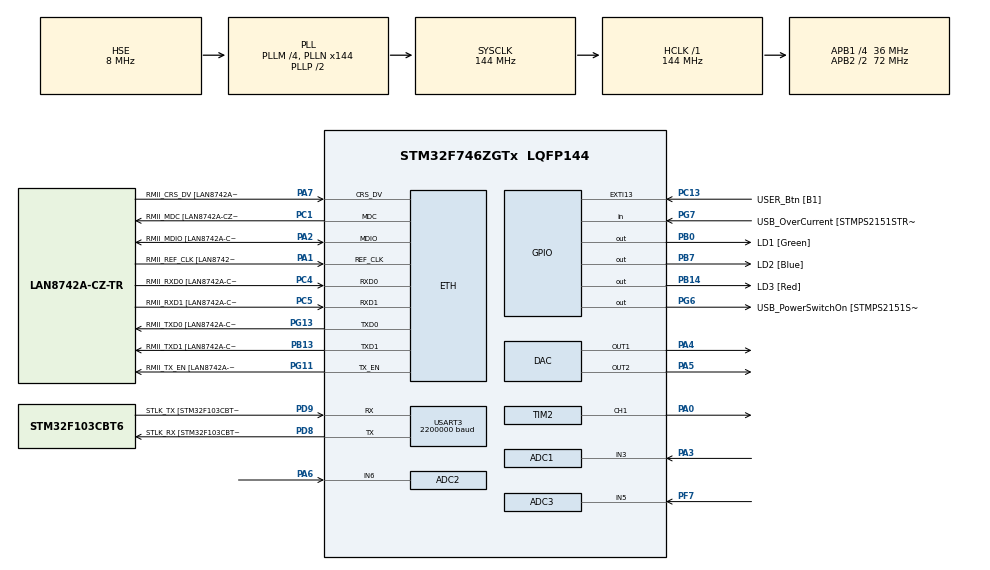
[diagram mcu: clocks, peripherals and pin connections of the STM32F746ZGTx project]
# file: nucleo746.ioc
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ADC1.Channel-1\#ChannelRegularConversion=ADC_CHANNEL_3
ADC1.ClockPrescaler=ADC_CLOCK_SYNC_PCLK_DIV4
ADC1.DMAContinuousRequests=ENABLE
ADC1.ExternalTrigConv=ADC_EXTERNALTRIGCONV_T6_TRGO
ADC1.NbrOfConversion=1
ADC1.NbrOfConversionFlag=1
ADC1.Rank-1\#ChannelRegularConversion=1
ADC1.SamplingTime-1\#ChannelRegularConversion=ADC_SAMPLETIME_3CYCLES
ADC1.master=1
ADC2.Channel-1\#ChannelRegularConversion=ADC_CHANNEL_6
ADC2.ClockPrescaler=ADC_CLOCK_SYNC_PCLK_DIV4
ADC2.DMAContinuousRequests=ENABLE
ADC2.ExternalTrigConv=ADC_EXTERNALTRIGCONV_T6_TRGO
ADC2.NbrOfConversion=1
ADC2.NbrOfConversionFlag=1
ADC2.Rank-1\#ChannelRegularConversion=1
ADC2.SamplingTime-1\#ChannelRegularConversion=ADC_SAMPLETIME_3CYCLES
ADC3.Channel-1\#ChannelRegularConversion=ADC_CHANNEL_5
ADC3.ClockPrescaler=ADC_CLOCK_SYNC_PCLK_DIV4
ADC3.DMAContinuousRequests=ENABLE
ADC3.ExternalTrigConv=ADC_EXTERNALTRIGCONV_T6_TRGO
ADC3.NbrOfConversion=1
ADC3.NbrOfConversionFlag=1
ADC3.Rank-1\#ChannelRegularConversion=1
ADC3.SamplingTime-1\#ChannelRegularConversion=ADC_SAMPLETIME_3CYCLES
CORTEX_M7.ART_ACCLERATOR_ENABLE=0
CORTEX_M7.CPU_DCache=Enabled
CORTEX_M7.CPU_ICache=Enabled
CORTEX_M7.PREFETCH_ENABLE=0
DAC.DAC_Trigger=DAC_TRIGGER_T6_TRGO
DAC.DAC_Trigger2=DAC_TRIGGER_T6_TRGO
Dma.ADC1.2.Direction=DMA_PERIPH_TO_MEMORY
Dma.ADC1.2.FIFOMode=DMA_FIFOMODE_DISABLE
Dma.ADC1.2.Instance=DMA2_Stream0
Dma.ADC1.2.MemDataAlignment=DMA_MDATAALIGN_HALFWORD
Dma.ADC1.2.MemInc=DMA_MINC_ENABLE
Dma.ADC1.2.Mode=DMA_CIRCULAR
Dma.ADC1.2.PeriphDataAlignment=DMA_PDATAALIGN_HALFWORD
Dma.ADC1.2.PeriphInc=DMA_PINC_DISABLE
Dma.ADC1.2.Priority=DMA_PRIORITY_LOW
Dma.ADC2.3.Direction=DMA_PERIPH_TO_MEMORY
Dma.ADC2.3.FIFOMode=DMA_FIFOMODE_DISABLE
Dma.ADC2.3.Instance=DMA2_Stream2
Dma.ADC2.3.MemDataAlignment=DMA_MDATAALIGN_HALFWORD
Dma.ADC2.3.MemInc=DMA_MINC_ENABLE
Dma.ADC2.3.Mode=DMA_CIRCULAR
Dma.ADC2.3.PeriphDataAlignment=DMA_PDATAALIGN_HALFWORD
Dma.ADC2.3.PeriphInc=DMA_PINC_DISABLE
Dma.ADC2.3.Priority=DMA_PRIORITY_LOW
Dma.ADC3.4.Direction=DMA_PERIPH_TO_MEMORY
Dma.ADC3.4.FIFOMode=DMA_FIFOMODE_DISABLE
Dma.ADC3.4.Instance=DMA2_Stream1
Dma.ADC3.4.MemDataAlignment=DMA_MDATAALIGN_HALFWORD
Dma.ADC3.4.MemInc=DMA_MINC_ENABLE
Dma.ADC3.4.Mode=DMA_CIRCULAR
Dma.ADC3.4.PeriphDataAlignment=DMA_PDATAALIGN_HALFWORD
Dma.ADC3.4.PeriphInc=DMA_PINC_DISABLE
Dma.ADC3.4.Priority=DMA_PRIORITY_LOW
Dma.DAC1.0.Direction=DMA_MEMORY_TO_PERIPH
Dma.DAC1.0.FIFOMode=DMA_FIFOMODE_DISABLE
Dma.DAC1.0.Instance=DMA1_Stream5
Dma.DAC1.0.MemDataAlignment=DMA_MDATAALIGN_HALFWORD
Dma.DAC1.0.MemInc=DMA_MINC_ENABLE
Dma.DAC1.0.Mode=DMA_CIRCULAR
Dma.DAC1.0.PeriphDataAlignment=DMA_PDATAALIGN_HALFWORD
Dma.DAC1.0.PeriphInc=DMA_PINC_DISABLE
Dma.DAC1.0.Priority=DMA_PRIORITY_LOW
Dma.DAC2.1.Direction=DMA_MEMORY_TO_PERIPH
Dma.DAC2.1.FIFOMode=DMA_FIFOMODE_DISABLE
Dma.DAC2.1.Instance=DMA1_Stream6
Dma.DAC2.1.MemDataAlignment=DMA_MDATAALIGN_HALFWORD
Dma.DAC2.1.MemInc=DMA_MINC_ENABLE
Dma.DAC2.1.Mode=DMA_CIRCULAR
Dma.DAC2.1.PeriphDataAlignment=DMA_PDATAALIGN_HALFWORD
Dma.DAC2.1.PeriphInc=DMA_PINC_DISABLE
Dma.DAC2.1.Priority=DMA_PRIORITY_LOW
Dma.Request0=DAC1
Dma.Request1=DAC2
Dma.Request2=ADC1
Dma.Request3=ADC2
Dma.Request4=ADC3
Dma.Request5=USART3_TX
Dma.USART3_TX.5.Direction=DMA_MEMORY_TO_PERIPH
Dma.USART3_TX.5.FIFOMode=DMA_FIFOMODE_DISABLE
Dma.USART3_TX.5.Instance=DMA1_Stream3
Dma.USART3_TX.5.MemDataAlignment=DMA_MDATAALIGN_BYTE
Dma.USART3_TX.5.MemInc=DMA_MINC_ENABLE
Dma.USART3_TX.5.Mode=DMA_CIRCULAR
Dma.USART3_TX.5.PeriphDataAlignment=DMA_PDATAALIGN_BYTE
Dma.USART3_TX.5.PeriphInc=DMA_PINC_DISABLE
Dma.USART3_TX.5.Priority=DMA_PRIORITY_LOW
ETH.MediaInterface=ETH_MEDIA_INTERFACE_RMII
ETH.PhyAddress=0
ETH.RxMode=ETH_RXINTERRUPT_MODE
FREERTOS.Tasks01=defaultTask,0,128,StartDefaultTask,Default,NULL
LWIP.GATEWAY_ADDRESS=000.000.000.000
LWIP.IP_ADDRESS=192.168.162.002
LWIP.LWIP_DHCP=0
LWIP.NETMASK_ADDRESS=255.255.255.000
LWIP.Version=v2.0.3_Cube
Mcu.Family=STM32F7
Mcu.Name=STM32F746ZGTx
Mcu.Package=LQFP144
NVIC.DMA1_Stream3_IRQn=true\:5\:0\:false\:false\:true\:true\:false\:true
NVIC.DMA1_Stream5_IRQn=true\:5\:0\:true\:false\:true\:true\:false\:true
NVIC.DMA1_Stream6_IRQn=true\:5\:0\:true\:false\:true\:true\:false\:true
NVIC.DMA2_Stream0_IRQn=true\:5\:0\:true\:false\:true\:true\:false\:true
NVIC.DMA2_Stream1_IRQn=true\:5\:0\:true\:false\:true\:true\:false\:true
NVIC.DMA2_Stream2_IRQn=true\:5\:0\:true\:false\:true\:true\:false\:true
NVIC.ETH_IRQn=true\:5\:0\:false\:false\:true\:true\:false\:true
NVIC.PriorityGroup=NVIC_PRIORITYGROUP_4
NVIC.TIM8_TRG_COM_TIM14_IRQn=true\:0\:0\:false\:false\:true\:false\:false\:true
NVIC.TimeBase=TIM8_TRG_COM_TIM14_IRQn
NVIC.TimeBaseIP=TIM14
NVIC.USART3_IRQn=true\:5\:0\:false\:false\:true\:true\:true\:true
PA0/WKUP.Signal=S_TIM2_CH1_ETR
PA1.GPIO_Label=RMII_REF_CLK [LAN8742A-CZ-TR_REFCLK0]
PA1.Mode=RMII
PA1.Signal=ETH_REF_CLK
PA10.GPIO_Label=USB_ID
PA10.Signal=USB_OTG_FS_ID
PA11.GPIO_Label=USB_DM
PA11.Signal=USB_OTG_FS_DM
PA12.GPIO_Label=USB_DP
PA12.Signal=USB_OTG_FS_DP
PA13.GPIO_Label=TMS
PA13.Mode=Serial_Wire
PA13.Signal=SYS_JTMS-SWDIO
PA14.GPIO_Label=TCK
PA14.Mode=Serial_Wire
PA14.Signal=SYS_JTCK-SWCLK
PA2.GPIO_Label=RMII_MDIO [LAN8742A-CZ-TR_MDIO]
PA2.Mode=RMII
PA2.Signal=ETH_MDIO
PA3.Signal=ADCx_IN3
PA4.Signal=COMP_DAC1_group
PA5.Signal=COMP_DAC2_group
PA6.Signal=ADCx_IN6
PA7.GPIO_Label=RMII_CRS_DV [LAN8742A-CZ-TR_CRS_DV]
PA7.Mode=RMII
PA7.Signal=ETH_CRS_DV
PA8.GPIO_Label=USB_SOF [TP1]
PA8.Signal=USB_OTG_FS_SOF
PA9.GPIO_Label=USB_VBUS
PA9.Signal=USB_OTG_FS_VBUS
PB0.GPIO_Label=LD1 [Green]
PB0.Signal=GPIO_Output
PB13.GPIO_Label=RMII_TXD1 [LAN8742A-CZ-TR_TXD1]
PB13.Mode=RMII
PB13.Signal=ETH_TXD1
PB14.GPIO_Label=LD3 [Red]
PB14.Signal=GPIO_Output
PB3.GPIO_Label=SW0
PB3.Signal=SYS_JTDO-SWO
PB7.GPIO_Label=LD2 [Blue]
PB7.Signal=GPIO_Output
PC1.GPIO_Label=RMII_MDC [LAN8742A-CZ-TR_MDC]
PC1.Mode=RMII
PC1.Signal=ETH_MDC
PC13.GPIO_Label=USER_Btn [B1]
PC13.Signal=GPXTI13
PC14/OSC32_IN.Mode=LSE-External-Oscillator
PC14/OSC32_IN.Signal=RCC_OSC32_IN
PC15/OSC32_OUT.Mode=LSE-External-Oscillator
PC15/OSC32_OUT.Signal=RCC_OSC32_OUT
PC4.GPIO_Label=RMII_RXD0 [LAN8742A-CZ-TR_RXD0]
PC4.Mode=RMII
PC4.Signal=ETH_RXD0
PC5.GPIO_Label=RMII_RXD1 [LAN8742A-CZ-TR_RXD1]
PC5.Mode=RMII
PC5.Signal=ETH_RXD1
PD8.GPIO_Label=STLK_RX [STM32F103CBT6_PA3]
PD8.Mode=Asynchronous
PD8.Signal=USART3_TX
PD9.GPIO_Label=STLK_TX [STM32F103CBT6_PA2]
PD9.Mode=Asynchronous
PD9.Signal=USART3_RX
PF7.Mode=IN5
PF7.Signal=ADC3_IN5
PG11.GPIO_Label=RMII_TX_EN [LAN8742A-CZ-TR_TXEN]
PG11.Mode=RMII
PG11.Signal=ETH_TX_EN
PG13.GPIO_Label=RMII_TXD0 [LAN8742A-CZ-TR_TXD0]
PG13.Mode=RMII
PG13.Signal=ETH_TXD0
PG6.GPIO_Label=USB_PowerSwitchOn [STMPS2151STR_EN]
PG6.Signal=GPIO_Output
PG7.GPIO_Label=USB_OverCurrent [STMPS2151STR_FAULT]
PG7.Signal=GPIO_Input
PH0/OSC_IN.GPIO_Label=MCO [STM32F103CBT6_PA8]
PH0/OSC_IN.Mode=HSE-External-Clock-Source
PH0/OSC_IN.Signal=RCC_OSC_IN
PH1/OSC_OUT.Mode=HSE-External-Clock-Source
PH1/OSC_OUT.Signal=RCC_OSC_OUT
ProjectManager.HeapSize=0x200
ProjectManager.StackSize=0x400
ProjectManager.TargetToolchain=STM32CubeIDE
RCC.48MHZClocksFreq_Value=24000000
RCC.AHBFreq_Value=144000000
RCC.APB1CLKDivider=RCC_HCLK_DIV4
RCC.APB1Freq_Value=36000000
RCC.APB1TimFreq_Value=72000000
RCC.APB2CLKDivider=RCC_HCLK_DIV2
RCC.APB2Freq_Value=72000000
RCC.APB2TimFreq_Value=144000000
RCC.CortexFreq_Value=144000000
RCC.HCLKFreq_Value=144000000
RCC.HSE_VALUE=8000000
RCC.HSI_VALUE=16000000
RCC.PLLM=4
RCC.PLLMUL=RCC_PLL_MUL9
RCC.PLLN=144
RCC.PLLQ=9
RCC.PLLSourceVirtual=RCC_PLLSOURCE_HSE
RCC.PRESCALERUSB=RCC_USBCLKSOURCE_PLL_DIV1_5
RCC.SYSCLKFreq_VALUE=144000000
RCC.SYSCLKSource=RCC_SYSCLKSOURCE_PLLCLK
RCC.SYSCLKSourceVirtual=RCC_SYSCLKSOURCE_PLLCLK
RCC.USBFreq_Value=32000000
RCC.VCOOutputFreq_Value=288000000
SH.ADCx_IN3.0=ADC1_IN3,IN3
SH.ADCx_IN6.0=ADC2_IN6,IN6
SH.COMP_DAC1_group.0=DAC_OUT1,DAC_OUT1
SH.COMP_DAC2_group.0=DAC_OUT2,DAC_OUT2
SH.S_TIM2_CH1_ETR.0=TIM2_CH1,PWM Generation1 CH1
TIM2.Channel-PWM\ Generation1\ CH1=TIM_CHANNEL_1
TIM2.OCFastMode_PWM-PWM\ Generation1\ CH1=TIM_OCFAST_DISABLE
TIM2.Period=1000000-1
TIM2.Prescaler=72-1
TIM2.Pulse-PWM\ Generation1\ CH1=0
TIM2.TIM_MasterOutputTrigger=TIM_TRGO_UPDATE
TIM6.Period=300-1
TIM6.Prescaler=1-1
TIM6.TIM_MasterOutputTrigger=TIM_TRGO_UPDATE
USART3.BaudRate=2200000
USART3.OneBitSampling=UART_ONE_BIT_SAMPLE_DISABLE
USART3.VirtualMode-Asynchronous=VM_ASYNC
VP_FREERTOS_VS_CMSIS_V1.Mode=CMSIS_V1
VP_LWIP_VS_Enabled.Mode=Enabled
VP_SYS_VS_tim14.Mode=TIM14
VP_TIM2_VS_ClockSourceINT.Mode=Internal
VP_TIM6_VS_ClockSourceINT.Mode=Enable_Timer
board=NUCLEO-F746ZG

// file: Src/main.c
/* USER CODE BEGIN Header */
/**
  ******************************************************************************
  * @file           : main.c
  * @brief          : Main program body
  ******************************************************************************
  * @attention
  *
  * <h2><center>&copy; Copyright (c) 2019 STMicroelectronics.
  * All rights reserved.</center></h2>
  *
  * This software component is licensed by ST under BSD 3-Clause license,
  * the "License"; You may not use this file except in compliance with the
  * License. You may obtain a copy of the License at:
  *                        opensource.org/licenses/BSD-3-Clause
  *
  ******************************************************************************
  */
/* USER CODE END Header */

#include "main.h"
#include "cmsis_os.h"
#include "lwip.h"

/* USER CODE BEGIN Includes */
#include <string.h>
#include "lwip/opt.h"
#include "lwip/arch.h"
#include "lwip/api.h"

#include "httpserver-netconn.h"
/* USER CODE END Includes */

ADC_HandleTypeDef hadc1;
ADC_HandleTypeDef hadc2;
ADC_HandleTypeDef hadc3;
DMA_HandleTypeDef hdma_adc1;
DMA_HandleTypeDef hdma_adc2;
DMA_HandleTypeDef hdma_adc3;

DAC_HandleTypeDef hdac;
DMA_HandleTypeDef hdma_dac1;
DMA_HandleTypeDef hdma_dac2;

TIM_HandleTypeDef htim2;
TIM_HandleTypeDef htim6;

UART_HandleTypeDef huart3;
DMA_HandleTypeDef hdma_usart3_tx;

osThreadId defaultTaskHandle;
osThreadId tcpTaskHandle;
/* USER CODE BEGIN PV */
uint32_t start = 0;
uint32_t end = 0;

uint16_t dac1 = 0;
uint16_t dac2 = 0;
#define DAT_SIZ 1000
#define BUF_SIZ 2000
uint16_t adc1[BUF_SIZ] = {0, };
uint16_t adc2[BUF_SIZ] = {0, };
uint16_t adc3[BUF_SIZ] = {0, };
uint16_t* p_adc1 = adc1;
uint16_t* p_adc2 = adc2;
uint16_t* p_adc3 = adc3;

struct netconn *tcp_conn, *tcp_newconn;
err_t tcp_recv_err;
err_t tcp_tx_half_err;
err_t tcp_tx_full_err;
struct netbuf *tcp_inbuf;
char* tcp_buf;
u16_t tcp_buflen;
uint32_t tcp_connected = 0;
/* USER CODE END PV */

void SystemClock_Config(void);
static void MX_GPIO_Init(void);
static void MX_DMA_Init(void);
static void MX_USART3_UART_Init(void);
static void MX_TIM6_Init(void);
static void MX_DAC_Init(void);
static void MX_ADC1_Init(void);
static void MX_ADC2_Init(void);
static void MX_ADC3_Init(void);
static void MX_TIM2_Init(void);
void StartDefaultTask(void const * argument);
void StartTcpTask(void const * argument);

/* USER CODE BEGIN 0 */
#define ITM_Port32(n) (*((volatile unsigned long *) (0xE0000000+4*n)))

void HAL_ADC_ConvHalfCpltCallback(ADC_HandleTypeDef* hadc) {
	if (hadc->Instance == hadc1.Instance) {
		ITM_Port32(31) = 111;
	} else if (hadc->Instance == hadc2.Instance) {
		ITM_Port32(31) = 222;
	} else if (hadc->Instance == hadc3.Instance) {
		ITM_Port32(31) = 333;
		if (tcp_connected == 1) {
			ITM_Port32(31) = 444;
//			tcp_tx_half_err = netconn_write(tcp_conn, (const unsigned char*)adc3, DAT_SIZ, NETCONN_NOCOPY);
			tcp_tx_half_err = netconn_write(tcp_conn, (const unsigned char*)adc3, 100, NETCONN_COPY);
			ITM_Port32(31) = 555;
		} else {
		}
	} else {
	}
}

void HAL_ADC_ConvCpltCallback(ADC_HandleTypeDef* hadc) {
	if (hadc->Instance == hadc1.Instance) {
		ITM_Port32(31) = 1111;
	} else if (hadc->Instance == hadc2.Instance) {
		ITM_Port32(31) = 2222;
	} else if (hadc->Instance == hadc3.Instance) {
		ITM_Port32(31) = 3333;
		if (tcp_connected == 1) {
//			ITM_Port32(31) = 4444;
//			tcp_tx_full_err = netconn_write(tcp_conn, (const unsigned char*)(adc3+DAT_SIZ), DAT_SIZ, NETCONN_NOCOPY);
//			ITM_Port32(31) = 5555;
		} else {
		}
	} else {
	}
}

/* USER CODE END 0 */

int main(void)
{

  /* Enable I-Cache---------------------------------------------------------*/
  SCB_EnableICache();

  /* Enable D-Cache---------------------------------------------------------*/
  SCB_EnableDCache();

  /* MCU Configuration--------------------------------------------------------*/

  /* Reset of all peripherals, Initializes the Flash interface and the Systick. */
  HAL_Init();

  /* Configure the system clock */
  SystemClock_Config();

  /* Initialize all configured peripherals */
  MX_GPIO_Init();
  MX_DMA_Init();
  MX_USART3_UART_Init();
  MX_TIM6_Init();
  MX_DAC_Init();
  MX_ADC1_Init();
  MX_ADC2_Init();
  MX_ADC3_Init();
  MX_TIM2_Init();

  /* Create the thread(s) */
  /* definition and creation of defaultTask */
//  osThreadDef(defaultTask, StartDefaultTask, osPriorityNormal, 0, 128);
  osThreadDef(tcpTask, StartTcpTask, osPriorityNormal, 0, 128);
//  defaultTaskHandle = osThreadCreate(osThread(defaultTask), NULL);
  tcpTaskHandle = osThreadCreate(osThread(tcpTask), NULL);

  /* Start scheduler */
  osKernelStart();

  /* We should never get here as control is now taken by the scheduler */

  /* Infinite loop */
  /* USER CODE BEGIN WHILE */
  start = HAL_GetTick();
//  HAL_TIM_Base_Start_IT(&htim7);

  HAL_DAC_Start_DMA(&hdac, DAC_CHANNEL_1, (uint32_t*)&dac1, 1, DAC_ALIGN_12B_R);
  HAL_DAC_Start_DMA(&hdac, DAC_CHANNEL_2, (uint32_t*)&dac2, 1, DAC_ALIGN_12B_R);

  HAL_ADC_Start_DMA(&hadc1, (uint32_t*)adc1, BUF_SIZ);
  HAL_ADC_Start_DMA(&hadc2, (uint32_t*)adc2, BUF_SIZ);
  HAL_ADC_Start_DMA(&hadc3, (uint32_t*)adc3, BUF_SIZ);

  // arr, duty = ccr / arr
  __HAL_TIM_SET_AUTORELOAD(&htim2, 100-1);
  // ccr, duty = ccr / arr
  __HAL_TIM_SET_COMPARE(&htim2, TIM_CHANNEL_1, 50);
  // cnt, ccr(max) = cnt(inc)
  __HAL_TIM_SET_COUNTER(&htim2, 0);
  HAL_TIM_PWM_Start(&htim2, TIM_CHANNEL_1);
//  HAL_TIM_PWM_Stop(&htim2, TIM_CHANNEL_1);

  HAL_TIM_Base_Start(&htim6);

  while (1)
  {
    /* USER CODE END WHILE */

    /* USER CODE BEGIN 3 */
	  end = HAL_GetTick();
	  if (end-start > 1000) {
		  start = end;
	  }
  }
  /* USER CODE END 3 */
}

void SystemClock_Config(void)
{
  RCC_OscInitTypeDef RCC_OscInitStruct = {0};
  RCC_ClkInitTypeDef RCC_ClkInitStruct = {0};
  RCC_PeriphCLKInitTypeDef PeriphClkInitStruct = {0};

  /** Configure LSE Drive Capability
  */
  HAL_PWR_EnableBkUpAccess();
  /** Configure the main internal regulator output voltage
  */
  __HAL_RCC_PWR_CLK_ENABLE();
  __HAL_PWR_VOLTAGESCALING_CONFIG(PWR_REGULATOR_VOLTAGE_SCALE3);
  /** Initializes the CPU, AHB and APB busses clocks
  */
  RCC_OscInitStruct.OscillatorType = RCC_OSCILLATORTYPE_HSE;
  RCC_OscInitStruct.HSEState = RCC_HSE_BYPASS;
  RCC_OscInitStruct.PLL.PLLState = RCC_PLL_ON;
  RCC_OscInitStruct.PLL.PLLSource = RCC_PLLSOURCE_HSE;
  RCC_OscInitStruct.PLL.PLLM = 4;
  RCC_OscInitStruct.PLL.PLLN = 144;
  RCC_OscInitStruct.PLL.PLLP = RCC_PLLP_DIV2;
  RCC_OscInitStruct.PLL.PLLQ = 9;
  if (HAL_RCC_OscConfig(&RCC_OscInitStruct) != HAL_OK)
  {
    Error_Handler();
  }
  /** Initializes the CPU, AHB and APB busses clocks
  */
  RCC_ClkInitStruct.ClockType = RCC_CLOCKTYPE_HCLK|RCC_CLOCKTYPE_SYSCLK
                              |RCC_CLOCKTYPE_PCLK1|RCC_CLOCKTYPE_PCLK2;
  RCC_ClkInitStruct.SYSCLKSource = RCC_SYSCLKSOURCE_PLLCLK;
  RCC_ClkInitStruct.AHBCLKDivider = RCC_SYSCLK_DIV1;
  RCC_ClkInitStruct.APB1CLKDivider = RCC_HCLK_DIV4;
  RCC_ClkInitStruct.APB2CLKDivider = RCC_HCLK_DIV2;

  if (HAL_RCC_ClockConfig(&RCC_ClkInitStruct, FLASH_LATENCY_4) != HAL_OK)
  {
    Error_Handler();
  }
  PeriphClkInitStruct.PeriphClockSelection = RCC_PERIPHCLK_USART3;
  PeriphClkInitStruct.Usart3ClockSelection = RCC_USART3CLKSOURCE_PCLK1;
  if (HAL_RCCEx_PeriphCLKConfig(&PeriphClkInitStruct) != HAL_OK)
  {
    Error_Handler();
  }
}

static void MX_ADC1_Init(void)
{

  ADC_ChannelConfTypeDef sConfig = {0};

  /** Configure the global features of the ADC (Clock, Resolution, Data Alignment and number of conversion)
  */
  hadc1.Instance = ADC1;
  hadc1.Init.ClockPrescaler = ADC_CLOCK_SYNC_PCLK_DIV4;
  hadc1.Init.Resolution = ADC_RESOLUTION_12B;
  hadc1.Init.ScanConvMode = ADC_SCAN_DISABLE;
  hadc1.Init.ContinuousConvMode = DISABLE;
  hadc1.Init.DiscontinuousConvMode = DISABLE;
  hadc1.Init.ExternalTrigConvEdge = ADC_EXTERNALTRIGCONVEDGE_RISING;
  hadc1.Init.ExternalTrigConv = ADC_EXTERNALTRIGCONV_T6_TRGO;
  hadc1.Init.DataAlign = ADC_DATAALIGN_RIGHT;
  hadc1.Init.NbrOfConversion = 1;
  hadc1.Init.DMAContinuousRequests = ENABLE;
  hadc1.Init.EOCSelection = ADC_EOC_SINGLE_CONV;
  if (HAL_ADC_Init(&hadc1) != HAL_OK)
  {
    Error_Handler();
  }
  /** Configure for the selected ADC regular channel its corresponding rank in the sequencer and its sample time.
  */
  sConfig.Channel = ADC_CHANNEL_3;
  sConfig.Rank = ADC_REGULAR_RANK_1;
  sConfig.SamplingTime = ADC_SAMPLETIME_3CYCLES;
  if (HAL_ADC_ConfigChannel(&hadc1, &sConfig) != HAL_OK)
  {
    Error_Handler();
  }

}

static void MX_ADC2_Init(void)
{

  ADC_ChannelConfTypeDef sConfig = {0};

  /** Configure the global features of the ADC (Clock, Resolution, Data Alignment and number of conversion)
  */
  hadc2.Instance = ADC2;
  hadc2.Init.ClockPrescaler = ADC_CLOCK_SYNC_PCLK_DIV4;
  hadc2.Init.Resolution = ADC_RESOLUTION_12B;
  hadc2.Init.ScanConvMode = ADC_SCAN_DISABLE;
  hadc2.Init.ContinuousConvMode = DISABLE;
  hadc2.Init.DiscontinuousConvMode = DISABLE;
  hadc2.Init.ExternalTrigConvEdge = ADC_EXTERNALTRIGCONVEDGE_RISING;
  hadc2.Init.ExternalTrigConv = ADC_EXTERNALTRIGCONV_T6_TRGO;
  hadc2.Init.DataAlign = ADC_DATAALIGN_RIGHT;
  hadc2.Init.NbrOfConversion = 1;
  hadc2.Init.DMAContinuousRequests = ENABLE;
  hadc2.Init.EOCSelection = ADC_EOC_SINGLE_CONV;
  if (HAL_ADC_Init(&hadc2) != HAL_OK)
  {
    Error_Handler();
  }
  /** Configure for the selected ADC regular channel its corresponding rank in the sequencer and its sample time.
  */
  sConfig.Channel = ADC_CHANNEL_6;
  sConfig.Rank = ADC_REGULAR_RANK_1;
  sConfig.SamplingTime = ADC_SAMPLETIME_3CYCLES;
  if (HAL_ADC_ConfigChannel(&hadc2, &sConfig) != HAL_OK)
  {
    Error_Handler();
  }

}

static void MX_ADC3_Init(void)
{

  ADC_ChannelConfTypeDef sConfig = {0};

  /** Configure the global features of the ADC (Clock, Resolution, Data Alignment and number of conversion)
  */
  hadc3.Instance = ADC3;
  hadc3.Init.ClockPrescaler = ADC_CLOCK_SYNC_PCLK_DIV4;
  hadc3.Init.Resolution = ADC_RESOLUTION_12B;
  hadc3.Init.ScanConvMode = ADC_SCAN_DISABLE;
  hadc3.Init.ContinuousConvMode = DISABLE;
  hadc3.Init.DiscontinuousConvMode = DISABLE;
  hadc3.Init.ExternalTrigConvEdge = ADC_EXTERNALTRIGCONVEDGE_RISING;
  hadc3.Init.ExternalTrigConv = ADC_EXTERNALTRIGCONV_T6_TRGO;
  hadc3.Init.DataAlign = ADC_DATAALIGN_RIGHT;
  hadc3.Init.NbrOfConversion = 1;
  hadc3.Init.DMAContinuousRequests = ENABLE;
  hadc3.Init.EOCSelection = ADC_EOC_SINGLE_CONV;
  if (HAL_ADC_Init(&hadc3) != HAL_OK)
  {
    Error_Handler();
  }
  /** Configure for the selected ADC regular channel its corresponding rank in the sequencer and its sample time.
  */
  sConfig.Channel = ADC_CHANNEL_5;
  sConfig.Rank = ADC_REGULAR_RANK_1;
  sConfig.SamplingTime = ADC_SAMPLETIME_3CYCLES;
  if (HAL_ADC_ConfigChannel(&hadc3, &sConfig) != HAL_OK)
  {
    Error_Handler();
  }

}

static void MX_DAC_Init(void)
{

  DAC_ChannelConfTypeDef sConfig = {0};

  /** DAC Initialization
  */
  hdac.Instance = DAC;
  if (HAL_DAC_Init(&hdac) != HAL_OK)
  {
    Error_Handler();
  }
  /** DAC channel OUT1 config
  */
  sConfig.DAC_Trigger = DAC_TRIGGER_T6_TRGO;
  sConfig.DAC_OutputBuffer = DAC_OUTPUTBUFFER_ENABLE;
  if (HAL_DAC_ConfigChannel(&hdac, &sConfig, DAC_CHANNEL_1) != HAL_OK)
  {
    Error_Handler();
  }
  /** DAC channel OUT2 config
  */
  if (HAL_DAC_ConfigChannel(&hdac, &sConfig, DAC_CHANNEL_2) != HAL_OK)
  {
    Error_Handler();
  }

}

static void MX_TIM2_Init(void)
{

  TIM_ClockConfigTypeDef sClockSourceConfig = {0};
  TIM_MasterConfigTypeDef sMasterConfig = {0};
  TIM_OC_InitTypeDef sConfigOC = {0};

  htim2.Instance = TIM2;
  htim2.Init.Prescaler = 72-1;
  htim2.Init.CounterMode = TIM_COUNTERMODE_UP;
  htim2.Init.Period = 1000000-1;
  htim2.Init.ClockDivision = TIM_CLOCKDIVISION_DIV1;
  htim2.Init.AutoReloadPreload = TIM_AUTORELOAD_PRELOAD_DISABLE;
  if (HAL_TIM_Base_Init(&htim2) != HAL_OK)
  {
    Error_Handler();
  }
  sClockSourceConfig.ClockSource = TIM_CLOCKSOURCE_INTERNAL;
  if (HAL_TIM_ConfigClockSource(&htim2, &sClockSourceConfig) != HAL_OK)
  {
    Error_Handler();
  }
  if (HAL_TIM_PWM_Init(&htim2) != HAL_OK)
  {
    Error_Handler();
  }
  sMasterConfig.MasterOutputTrigger = TIM_TRGO_UPDATE;
  sMasterConfig.MasterSlaveMode = TIM_MASTERSLAVEMODE_DISABLE;
  if (HAL_TIMEx_MasterConfigSynchronization(&htim2, &sMasterConfig) != HAL_OK)
  {
    Error_Handler();
  }
  sConfigOC.OCMode = TIM_OCMODE_PWM1;
  sConfigOC.Pulse = 0;
  sConfigOC.OCPolarity = TIM_OCPOLARITY_HIGH;
  sConfigOC.OCFastMode = TIM_OCFAST_DISABLE;
  if (HAL_TIM_PWM_ConfigChannel(&htim2, &sConfigOC, TIM_CHANNEL_1) != HAL_OK)
  {
    Error_Handler();
  }
  HAL_TIM_MspPostInit(&htim2);

}

static void MX_TIM6_Init(void)
{

  TIM_MasterConfigTypeDef sMasterConfig = {0};

  htim6.Instance = TIM6;
  htim6.Init.Prescaler = 1-1;
  htim6.Init.CounterMode = TIM_COUNTERMODE_UP;
  htim6.Init.Period = 300-1;
  htim6.Init.AutoReloadPreload = TIM_AUTORELOAD_PRELOAD_DISABLE;
  if (HAL_TIM_Base_Init(&htim6) != HAL_OK)
  {
    Error_Handler();
  }
  sMasterConfig.MasterOutputTrigger = TIM_TRGO_UPDATE;
  sMasterConfig.MasterSlaveMode = TIM_MASTERSLAVEMODE_DISABLE;
  if (HAL_TIMEx_MasterConfigSynchronization(&htim6, &sMasterConfig) != HAL_OK)
  {
    Error_Handler();
  }

}

static void MX_USART3_UART_Init(void)
{

  huart3.Instance = USART3;
  huart3.Init.BaudRate = 2200000;
  huart3.Init.WordLength = UART_WORDLENGTH_8B;
  huart3.Init.StopBits = UART_STOPBITS_1;
  huart3.Init.Parity = UART_PARITY_NONE;
  huart3.Init.Mode = UART_MODE_TX_RX;
  huart3.Init.HwFlowCtl = UART_HWCONTROL_NONE;
  huart3.Init.OverSampling = UART_OVERSAMPLING_16;
  huart3.Init.OneBitSampling = UART_ONE_BIT_SAMPLE_DISABLE;
  huart3.AdvancedInit.AdvFeatureInit = UART_ADVFEATURE_NO_INIT;
  if (HAL_UART_Init(&huart3) != HAL_OK)
  {
    Error_Handler();
  }

}

static void MX_DMA_Init(void)
{

  /* DMA controller clock enable */
  __HAL_RCC_DMA1_CLK_ENABLE();
  __HAL_RCC_DMA2_CLK_ENABLE();

  /* DMA interrupt init */
  /* DMA1_Stream3_IRQn interrupt configuration */
  HAL_NVIC_SetPriority(DMA1_Stream3_IRQn, 5, 0);
  HAL_NVIC_EnableIRQ(DMA1_Stream3_IRQn);
  /* DMA1_Stream5_IRQn interrupt configuration */
  HAL_NVIC_SetPriority(DMA1_Stream5_IRQn, 5, 0);
  HAL_NVIC_EnableIRQ(DMA1_Stream5_IRQn);
  /* DMA1_Stream6_IRQn interrupt configuration */
  HAL_NVIC_SetPriority(DMA1_Stream6_IRQn, 5, 0);
  HAL_NVIC_EnableIRQ(DMA1_Stream6_IRQn);
  /* DMA2_Stream0_IRQn interrupt configuration */
  HAL_NVIC_SetPriority(DMA2_Stream0_IRQn, 5, 0);
  HAL_NVIC_EnableIRQ(DMA2_Stream0_IRQn);
  /* DMA2_Stream1_IRQn interrupt configuration */
  HAL_NVIC_SetPriority(DMA2_Stream1_IRQn, 5, 0);
  HAL_NVIC_EnableIRQ(DMA2_Stream1_IRQn);
  /* DMA2_Stream2_IRQn interrupt configuration */
  HAL_NVIC_SetPriority(DMA2_Stream2_IRQn, 5, 0);
  HAL_NVIC_EnableIRQ(DMA2_Stream2_IRQn);

}

static void MX_GPIO_Init(void)
{
  GPIO_InitTypeDef GPIO_InitStruct = {0};

  /* GPIO Ports Clock Enable */
  __HAL_RCC_GPIOC_CLK_ENABLE();
  __HAL_RCC_GPIOF_CLK_ENABLE();
  __HAL_RCC_GPIOH_CLK_ENABLE();
  __HAL_RCC_GPIOA_CLK_ENABLE();
  __HAL_RCC_GPIOB_CLK_ENABLE();
  __HAL_RCC_GPIOD_CLK_ENABLE();
  __HAL_RCC_GPIOG_CLK_ENABLE();

  /*Configure GPIO pin Output Level */
  HAL_GPIO_WritePin(GPIOB, LD1_Pin|LD3_Pin|LD2_Pin, GPIO_PIN_RESET);

  /*Configure GPIO pin Output Level */
  HAL_GPIO_WritePin(USB_PowerSwitchOn_GPIO_Port, USB_PowerSwitchOn_Pin, GPIO_PIN_RESET);

  /*Configure GPIO pin : USER_Btn_Pin */
  GPIO_InitStruct.Pin = USER_Btn_Pin;
  GPIO_InitStruct.Mode = GPIO_MODE_IT_RISING;
  GPIO_InitStruct.Pull = GPIO_NOPULL;
  HAL_GPIO_Init(USER_Btn_GPIO_Port, &GPIO_InitStruct);

  /*Configure GPIO pins : LD1_Pin LD3_Pin LD2_Pin */
  GPIO_InitStruct.Pin = LD1_Pin|LD3_Pin|LD2_Pin;
  GPIO_InitStruct.Mode = GPIO_MODE_OUTPUT_PP;
  GPIO_InitStruct.Pull = GPIO_NOPULL;
  GPIO_InitStruct.Speed = GPIO_SPEED_FREQ_LOW;
  HAL_GPIO_Init(GPIOB, &GPIO_InitStruct);

  /*Configure GPIO pin : USB_PowerSwitchOn_Pin */
  GPIO_InitStruct.Pin = USB_PowerSwitchOn_Pin;
  GPIO_InitStruct.Mode = GPIO_MODE_OUTPUT_PP;
  GPIO_InitStruct.Pull = GPIO_NOPULL;
  GPIO_InitStruct.Speed = GPIO_SPEED_FREQ_LOW;
  HAL_GPIO_Init(USB_PowerSwitchOn_GPIO_Port, &GPIO_InitStruct);

  /*Configure GPIO pin : USB_OverCurrent_Pin */
  GPIO_InitStruct.Pin = USB_OverCurrent_Pin;
  GPIO_InitStruct.Mode = GPIO_MODE_INPUT;
  GPIO_InitStruct.Pull = GPIO_NOPULL;
  HAL_GPIO_Init(USB_OverCurrent_GPIO_Port, &GPIO_InitStruct);

  /*Configure GPIO pins : USB_SOF_Pin USB_ID_Pin USB_DM_Pin USB_DP_Pin */
  GPIO_InitStruct.Pin = USB_SOF_Pin|USB_ID_Pin|USB_DM_Pin|USB_DP_Pin;
  GPIO_InitStruct.Mode = GPIO_MODE_AF_PP;
  GPIO_InitStruct.Pull = GPIO_NOPULL;
  GPIO_InitStruct.Speed = GPIO_SPEED_FREQ_VERY_HIGH;
  GPIO_InitStruct.Alternate = GPIO_AF10_OTG_FS;
  HAL_GPIO_Init(GPIOA, &GPIO_InitStruct);

  /*Configure GPIO pin : USB_VBUS_Pin */
  GPIO_InitStruct.Pin = USB_VBUS_Pin;
  GPIO_InitStruct.Mode = GPIO_MODE_INPUT;
  GPIO_InitStruct.Pull = GPIO_NOPULL;
  HAL_GPIO_Init(USB_VBUS_GPIO_Port, &GPIO_InitStruct);

}

/* USER CODE BEGIN 4 */
void StartTcpTask(void const * argument)
{
  err_t err, accept_err;

#if 1
  MX_LWIP_Init();

  HAL_DAC_Start_DMA(&hdac, DAC_CHANNEL_1, (uint32_t*)&dac1, 1, DAC_ALIGN_12B_R);
  HAL_DAC_Start_DMA(&hdac, DAC_CHANNEL_2, (uint32_t*)&dac2, 1, DAC_ALIGN_12B_R);

  HAL_ADC_Start_DMA(&hadc1, (uint32_t*)adc1, BUF_SIZ);
  HAL_ADC_Start_DMA(&hadc2, (uint32_t*)adc2, BUF_SIZ);
  HAL_ADC_Start_DMA(&hadc3, (uint32_t*)adc3, BUF_SIZ);

  // arr, duty = ccr / arr
  __HAL_TIM_SET_AUTORELOAD(&htim2, 100-1);
  // ccr, duty = ccr / arr
  __HAL_TIM_SET_COMPARE(&htim2, TIM_CHANNEL_1, 50);
  // cnt, ccr(max) = cnt(inc)
  __HAL_TIM_SET_COUNTER(&htim2, 0);
  HAL_TIM_PWM_Start(&htim2, TIM_CHANNEL_1);
//  HAL_TIM_PWM_Stop(&htim2, TIM_CHANNEL_1);

  HAL_TIM_Base_Start(&htim6);
#endif

  tcp_conn = netconn_new(NETCONN_TCP);

  if (tcp_conn!= NULL)
  {
	err = netconn_bind(tcp_conn, NULL, 5555);

	if (err == ERR_OK)
	{
	  netconn_listen(tcp_conn);

	  while(1)
	  {
		accept_err = netconn_accept(tcp_conn, &tcp_newconn);

		tcp_connected = 0;

		  /* Infinite loop */
		  for(;;)
		  {
//			  tcp_recv_err = netconn_recv(tcp_conn, &tcp_inbuf);
//
//			  if (tcp_recv_err == ERR_OK)
//			  {
//			  }
		    osDelay(1);
		  }

		if(accept_err == ERR_OK)
		{
			struct netbuf *inbuf;
			err_t recv_err;
			char* buf;
			u16_t buflen;

//			recv_err = netconn_recv(conn, &inbuf);

//			netconn_write(conn, (const unsigned char*)index_html, index_html_len, NETCONN_NOCOPY);

//		  netconn_delete(newconn);
//
//		  netconn_close(conn);
		}
	  }
	}
  }
}
/* USER CODE END 4 */

void StartDefaultTask(void const * argument)
{

  /* init code for LWIP */
  MX_LWIP_Init();

  /* USER CODE BEGIN 5 */
#if 1
  HAL_DAC_Start_DMA(&hdac, DAC_CHANNEL_1, (uint32_t*)&dac1, 1, DAC_ALIGN_12B_R);
  HAL_DAC_Start_DMA(&hdac, DAC_CHANNEL_2, (uint32_t*)&dac2, 1, DAC_ALIGN_12B_R);

  HAL_ADC_Start_DMA(&hadc1, (uint32_t*)adc1, BUF_SIZ);
  HAL_ADC_Start_DMA(&hadc2, (uint32_t*)adc2, BUF_SIZ);
  HAL_ADC_Start_DMA(&hadc3, (uint32_t*)adc3, BUF_SIZ);

  // arr, duty = ccr / arr
  __HAL_TIM_SET_AUTORELOAD(&htim2, 100-1);
  // ccr, duty = ccr / arr
  __HAL_TIM_SET_COMPARE(&htim2, TIM_CHANNEL_1, 50);
  // cnt, ccr(max) = cnt(inc)
  __HAL_TIM_SET_COUNTER(&htim2, 0);
  HAL_TIM_PWM_Start(&htim2, TIM_CHANNEL_1);
//  HAL_TIM_PWM_Stop(&htim2, TIM_CHANNEL_1);

  HAL_TIM_Base_Start(&htim6);
#endif

  http_server_netconn_init();

  /* Infinite loop */
  for(;;)
  {
    osDelay(1);
  }
  /* USER CODE END 5 */
}

void HAL_TIM_PeriodElapsedCallback(TIM_HandleTypeDef *htim)
{
  if (htim->Instance == TIM14) {
    HAL_IncTick();
  }
}

void Error_Handler(void)
{
}

/************************ (C) COPYRIGHT STMicroelectronics *****END OF FILE****/
